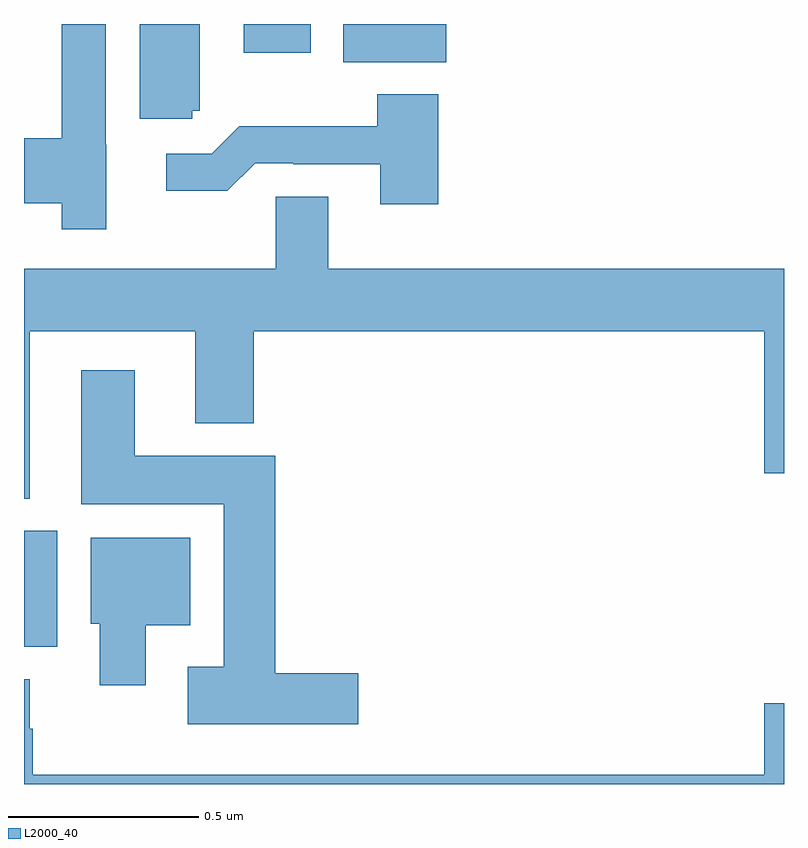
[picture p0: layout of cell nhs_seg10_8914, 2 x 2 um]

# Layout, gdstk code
import gdstk
lib = gdstk.Library(unit=1e-6, precision=1e-09)
def R(c, l, rs):  # rectangles x0, y0, x1, y1
    for r in rs: c.add(gdstk.rectangle(r[:2], r[2:], *l))
def P(c, l, *ps):  # polygons
    for p in ps: c.add(gdstk.Polygon(p, *l))
L2000_40 = (2000, 40)

nhs_seg10_8914 = lib.new_cell('nhs_seg10_8914')
R(nhs_seg10_8914, L2000_40, [(223,1256.861,223.087,1257.166), (223.84,1258.4,224.111,1258.5), (223.578,1258.424,223.755,1258.5)])
P(nhs_seg10_8914, L2000_40, [(223.443,1258.272),(223.462,1258.272),(223.462,1258.5),(223.304,1258.5),(223.304,1258.251),(223.443,1258.251)],
  [(223.216,1258.182),(223.215,1258.182),(223.215,1258.5),(223.099,1258.5),(223.099,1258.199),(223,1258.199),(223,1258.028),(223.099,1258.028),(223.099,1257.96),(223.216,1257.96)],
  [(224.09,1258.315),(223.93,1258.315),(223.93,1258.231),(223.567,1258.231),(223.494,1258.158),(223.374,1258.158),(223.374,1258.061),(223.535,1258.061),(223.608,1258.134),(223.708,1258.134),(223.708,1258.131),(223.937,1258.131),(223.937,1258.026),(224.09,1258.026)],
  [(223.015,1257.692),(223.451,1257.692),(223.451,1257.449),(223.604,1257.449),(223.604,1257.692),(224.948,1257.692),(224.948,1257.318),(225,1257.318),(225,1257.856),(223.801,1257.856),(223.801,1258.046),(223.662,1258.046),(223.662,1257.856),(223,1257.856),(223,1257.251),(223.015,1257.251)],
  [(223.879,1256.792),(223.661,1256.792),(223.661,1257.364),(223.291,1257.364),(223.291,1257.589),(223.151,1257.589),(223.151,1257.236),(223.526,1257.236),(223.526,1256.809),(223.431,1256.809),(223.431,1256.657),(223.879,1256.657)],
  [(223.321,1256.918),(223.438,1256.918),(223.438,1257.148),(223.175,1257.148),(223.175,1256.922),(223.199,1256.922),(223.199,1256.76),(223.321,1256.76)],
  [(225,1256.713),(224.948,1256.713),(224.948,1256.524),(223.023,1256.524),(223.023,1256.645),(223.015,1256.645),(223.015,1256.776),(223,1256.776),(223,1256.5),(225,1256.5)])

lib.write_gds('nhs_seg10_8914.gds')
